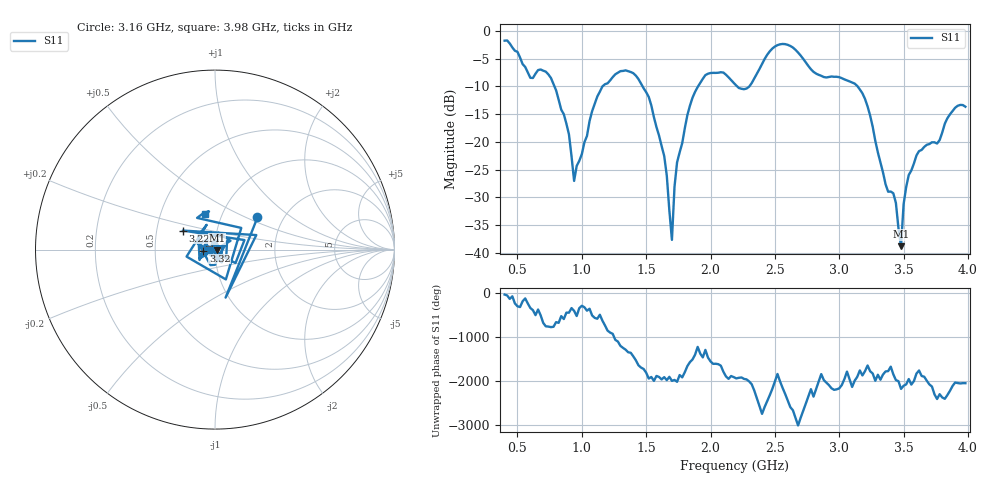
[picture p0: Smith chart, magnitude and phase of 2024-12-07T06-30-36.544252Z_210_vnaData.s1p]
!Created with skrf (http://scikit-rf.org).
# Hz S RI R 50.0
!freq ReS11 ImS11
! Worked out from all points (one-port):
!   180 points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, 400 MHz to 3.98 GHz, reference 50 ohm
!   lowest |S11| = -38.8 dB at 3.48 GHz (marker M1), VSWR 1.02, Z = 51 - j0.5 ohm
!   |S11| at or under -10 dB: 787.6 MHz to 1.16 GHz (372.4 MHz wide, 38.2 % of centre); 1.472 GHz to 1.903 GHz (431 MHz wide, 25.5 % of centre); 3.143 GHz to end of sweep (the widest 3 of 4)
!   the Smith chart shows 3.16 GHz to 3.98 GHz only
!   S11 on the Smith chart (normalised r, x): 3.16 GHz: 1.48, +0.58; 3.22 GHz: 0.68, +0.15; 3.32 GHz: 0.88, -0.01; 3.98 GHz: 0.83, +0.35
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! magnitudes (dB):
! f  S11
! 400 MHz  -1.8
! 600 MHz  -8.5
! 740 MHz  -7.8
! 860 MHz  -15.0
! 900 MHz  -18.7
! 940 MHz  -27.0
! 1.12 GHz  -11.8
! 1.3 GHz  -7.2
! 1.52 GHz  -11.9
! 1.64 GHz  -22.5
! 1.7 GHz  -37.7
! 1.72 GHz  -28.1
! 1.76 GHz  -21.9
! 1.86 GHz  -12.0
! 1.96 GHz  -8.0
! 2.2 GHz  -9.8
! 2.3 GHz  -10.0
! 2.5 GHz  -2.8
! 2.64 GHz  -3.0
! 3.1 GHz  -9.3
! 3.16 GHz  -10.6
! 3.22 GHz  -13.6
! 3.32 GHz  -23.7
! 3.44 GHz  -31.0
! 3.48 GHz  -38.8
! 3.5 GHz  -31.2
! 3.54 GHz  -26.0
! 3.98 GHz  -13.7
